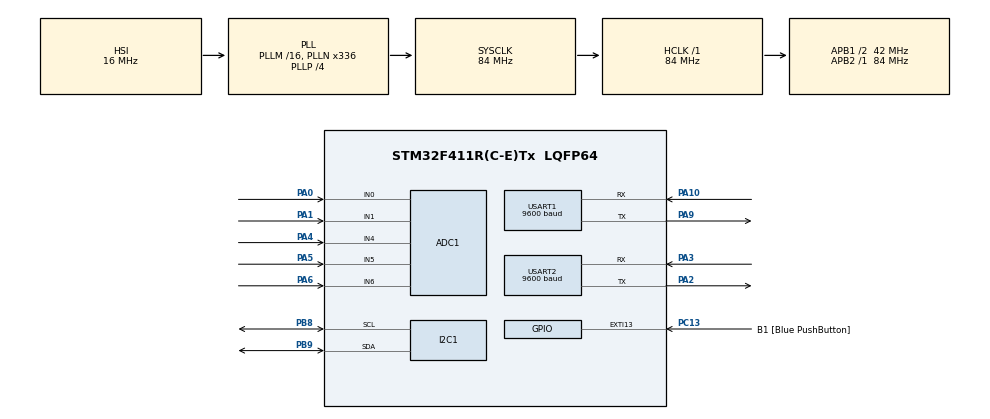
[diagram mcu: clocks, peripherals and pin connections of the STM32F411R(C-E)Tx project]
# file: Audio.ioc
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ADC1.Channel-0\#ChannelRegularConversion=ADC_CHANNEL_1
ADC1.NbrOfConversion=1
ADC1.NbrOfConversionFlag=1
ADC1.Rank-0\#ChannelRegularConversion=1
ADC1.SamplingTime-0\#ChannelRegularConversion=ADC_SAMPLETIME_3CYCLES
ADC1.master=1
Mcu.Family=STM32F4
Mcu.Name=STM32F411R(C-E)Tx
Mcu.Package=LQFP64
NVIC.PriorityGroup=NVIC_PRIORITYGROUP_0
NVIC.USART1_IRQn=true\:0\:0\:false\:false\:true\:true\:true\:true
NVIC.USART2_IRQn=true\:0\:0\:false\:false\:true\:true\:true\:true
PA0-WKUP.Signal=ADCx_IN0
PA1.Signal=ADCx_IN1
PA10.Mode=Asynchronous
PA10.Signal=USART1_RX
PA13.GPIO_Label=TMS
PA13.Mode=Serial_Wire
PA13.Signal=SYS_JTMS-SWDIO
PA14.GPIO_Label=TCK
PA14.Mode=Serial_Wire
PA14.Signal=SYS_JTCK-SWCLK
PA2.Mode=Asynchronous
PA2.Signal=USART2_TX
PA3.Mode=Asynchronous
PA3.Signal=USART2_RX
PA4.Signal=ADCx_IN4
PA5.Signal=ADCx_IN5
PA6.Signal=ADCx_IN6
PA9.Mode=Asynchronous
PA9.Signal=USART1_TX
PB3.GPIO_Label=SWO
PB3.Signal=SYS_JTDO-SWO
PB8.Mode=I2C
PB8.Signal=I2C1_SCL
PB9.Mode=I2C
PB9.Signal=I2C1_SDA
PC13-ANTI_TAMP.GPIO_Label=B1 [Blue PushButton]
PC13-ANTI_TAMP.GPIO_ModeDefaultEXTI=GPIO_MODE_IT_FALLING
PC13-ANTI_TAMP.Signal=GPXTI13
PC14-OSC32_IN.Mode=LSE-External-Oscillator
PC14-OSC32_IN.Signal=RCC_OSC32_IN
PC15-OSC32_OUT.Mode=LSE-External-Oscillator
PC15-OSC32_OUT.Signal=RCC_OSC32_OUT
PH0\ -\ OSC_IN.Mode=HSE-External-Clock-Source
PH0\ -\ OSC_IN.Signal=RCC_OSC_IN
PH1\ -\ OSC_OUT.Mode=HSE-External-Clock-Source
PH1\ -\ OSC_OUT.Signal=RCC_OSC_OUT
ProjectManager.HeapSize=0x200
ProjectManager.StackSize=0x400
ProjectManager.TargetToolchain=STM32CubeIDE
RCC.48MHZClocksFreq_Value=84000000
RCC.AHBFreq_Value=84000000
RCC.APB1CLKDivider=RCC_HCLK_DIV2
RCC.APB1Freq_Value=42000000
RCC.APB1TimFreq_Value=84000000
RCC.APB2Freq_Value=84000000
RCC.APB2TimFreq_Value=84000000
RCC.CortexFreq_Value=84000000
RCC.FLatency-AdvancedSettings=FLASH_LATENCY_2
RCC.HCLKFreq_Value=84000000
RCC.HSE_VALUE=8000000
RCC.HSI_VALUE=16000000
RCC.PLLN=336
RCC.PLLP=RCC_PLLP_DIV4
RCC.SYSCLKFreq_VALUE=84000000
RCC.SYSCLKSource=RCC_SYSCLKSOURCE_PLLCLK
RCC.VCOOutputFreq_Value=336000000
SH.ADCx_IN0.0=ADC1_IN0,IN0
SH.ADCx_IN1.0=ADC1_IN1,IN1
SH.ADCx_IN4.0=ADC1_IN4,IN4
SH.ADCx_IN5.0=ADC1_IN5,IN5
SH.ADCx_IN6.0=ADC1_IN6,IN6
USART1.BaudRate=9600
USART1.VirtualMode=VM_ASYNC
USART2.BaudRate=9600
USART2.VirtualMode=VM_ASYNC
board=NUCLEO-F411RE

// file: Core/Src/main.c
/* USER CODE BEGIN Header */
/**
  ******************************************************************************
  * @file           : main.c
  * @brief          : Main program body
  ******************************************************************************
  * @attention
  *
  * Copyright (c) 2022 STMicroelectronics.
  * All rights reserved.
  *
  * This software is licensed under terms that can be found in the LICENSE file
  * in the root directory of this software component.
  * If no LICENSE file comes with this software, it is provided AS-IS.
  *
  ******************************************************************************
  */
/* USER CODE END Header */
#include "main.h"

/* USER CODE BEGIN Includes */
#include "DFPLAYER_MINI.h"
#include <stdio.h>
#include <stdlib.h>
#include "mpu6050.h"
/* USER CODE END Includes */

ADC_HandleTypeDef hadc1;

I2C_HandleTypeDef hi2c1;

UART_HandleTypeDef huart1;
UART_HandleTypeDef huart2;

/* USER CODE BEGIN PV */
MPU6050_t MPU6050;

//-------------------------------//

double raw_value;
char Resist[20] = "wowo";
double Readvoltage[3];
double ReadR[3];
const int R = 10; // Resistance
const int V = 3.3; // voltage
/* USER CODE END PV */

void SystemClock_Config(void);
static void MX_GPIO_Init(void);
static void MX_USART1_UART_Init(void);
static void MX_USART2_UART_Init(void);
static void MX_ADC1_Init(void);
static void MX_I2C1_Init(void);

/* USER CODE BEGIN 0 */
char buf[1];
char urtrx[10]={0};
uint8_t urtrxStatus;

char val[200];
char gesture[200];
uint8_t result = 0x05;
int vol;
char volu[20];

void Adc_select_0(){
	ADC_ChannelConfTypeDef sConfig = {0};
	  sConfig.Channel = ADC_CHANNEL_0;
	  sConfig.Rank = 1;
	  sConfig.SamplingTime = ADC_SAMPLETIME_28CYCLES;
	  if (HAL_ADC_ConfigChannel(&hadc1, &sConfig) != HAL_OK)
	  {
	    Error_Handler();
	  }
}
void Adc_select_1(){
	ADC_ChannelConfTypeDef sConfig = {0};
	  sConfig.Channel = ADC_CHANNEL_1;
	  sConfig.Rank = 1;
	  sConfig.SamplingTime = ADC_SAMPLETIME_84CYCLES;
	  if (HAL_ADC_ConfigChannel(&hadc1, &sConfig) != HAL_OK)
	  {
	    Error_Handler();
	  }
}
void Adc_select_4(){
	ADC_ChannelConfTypeDef sConfig = {0};
	  sConfig.Channel = ADC_CHANNEL_4;
	  sConfig.Rank = 1;
	  sConfig.SamplingTime = ADC_SAMPLETIME_84CYCLES;
	  if (HAL_ADC_ConfigChannel(&hadc1, &sConfig) != HAL_OK)
	  {
	    Error_Handler();
	  }
}
void Adc_select_6_poten(){
	ADC_ChannelConfTypeDef sConfig = {0};
	  sConfig.Channel = ADC_CHANNEL_6;
	  sConfig.Rank = 1;
	  sConfig.SamplingTime = ADC_SAMPLETIME_84CYCLES;
	  if (HAL_ADC_ConfigChannel(&hadc1, &sConfig) != HAL_OK)
	  {
	    Error_Handler();
	  }
}
float resist_to_percent(float R, float min_old, float max_old, float min_new, float max_new) {
	return (R-min_old)/(max_old-min_old)*(max_new-min_new);
}
/* USER CODE END 0 */

int main(void)
{

  /* MCU Configuration--------------------------------------------------------*/

  /* Reset of all peripherals, Initializes the Flash interface and the Systick. */
  HAL_Init();

  /* Configure the system clock */
  SystemClock_Config();

  /* Initialize all configured peripherals */
  MX_GPIO_Init();
  MX_USART1_UART_Init();
  MX_USART2_UART_Init();
  MX_ADC1_Init();
  MX_I2C1_Init();
  MPU6050_Init(&hi2c1);
  /* USER CODE BEGIN 2 */
  DF_Init(10);
//  DF_PlayFromStart();
  uint8_t a = 0x01;
  Send_cmd(0x03,0x00, 0x05); //play
//  HAL_Delay(500);

	float Ax, Ay, Az, Gx, Gy, Gz;
	float Axmin[4] = {-0.34,0.46,0.61,0.09};  // คน, สวัสดี, อันตราย, เกรงใจ
	float Axmax[4] = {0.42 ,1.1 ,1.17, 0.86};
	float Aymin[4] = {0.75,-0.14,0.06,0.52};
	float Aymax[4] = {1.2 ,0.61 ,0.83,1.13};
	float Azmin[4] = {-0.54,-1.15,-0.41,-0.41};
	float Azmax[4] = {0.18 ,-0.41 ,0.43 ,0.51};

	float V0min[4] = {0.52,0.54,0.42, 0.53};
	float V0max[4] = {0.9,0.9,0.79,0.88};
	float V1min[4] = {0.38,0.35,0.04,0.1};
	float V1max[4] = {0.83,0.81,0.41,0.52};
	float V2min[4] = {0.35,0.38,0.13,0.15};
	float V2max[4] = {0.75,0.78,0.52,0.53};
  int oldvoice = 5;
  int newvoice = 0;
  int cou = 0;
  char couu[15];
  /* USER CODE END 2 */

  /* Infinite loop */
  /* USER CODE BEGIN WHILE */

  HAL_UART_Transmit(&huart2,"first" ,sizeof("first"),HAL_MAX_DELAY);
  while (1)
  {
	  MPU6050_Read_All(&hi2c1, &MPU6050);

	  	Ax = MPU6050.Ax;
	  	Ay = MPU6050.Ay;
	  	Az = MPU6050.Az;
	  	Gx = MPU6050.Gx;
	  	Gy = MPU6050.Gy;
	  	Gz = MPU6050.Gz;

	  	Adc_select_0();
	  	HAL_ADC_Start(&hadc1);
	  	HAL_ADC_PollForConversion(&hadc1, 1000);
	  	raw_value = (double)HAL_ADC_GetValue(&hadc1);
	  	Readvoltage[0] = raw_value*V/4095;
	  	ReadR[0] = ((V*R)/Readvoltage[0])-R;
//	  	ReadR[0] = resist_to_percent(ReadR[0],30,105,0,100);
	  	sprintf(Resist,"read0=%f\t" , Readvoltage[0]);
	  	HAL_UART_Transmit(&huart2,Resist ,sizeof(Resist),HAL_MAX_DELAY);
	  	HAL_ADC_Stop(&hadc1);

	  	Adc_select_1();
	  	HAL_ADC_Start(&hadc1);
	  	HAL_ADC_PollForConversion(&hadc1, 1000);
	  	raw_value = (double)HAL_ADC_GetValue(&hadc1);
	  	Readvoltage[1] = raw_value*V/4095;
	  	ReadR[1] = ((V*R)/Readvoltage[1])-R;
//	  	ReadR[1] = resist_to_percent(ReadR[1],27,48,0,100);
	  	sprintf(Resist,"read1=%f\t" , Readvoltage[1]);
	  	HAL_UART_Transmit(&huart2,Resist ,sizeof(Resist),HAL_MAX_DELAY);
	  	HAL_ADC_Stop(&hadc1);

	  	Adc_select_4();
	  	HAL_ADC_Start(&hadc1);
	  	HAL_ADC_PollForConversion(&hadc1, 1000);
	  	raw_value = (double)HAL_ADC_GetValue(&hadc1);
	  	Readvoltage[2] = raw_value*V/4095;
	  	ReadR[2] = ((V*R)/Readvoltage[2])-R;
//	  	ReadR[2] = resist_to_percent(ReadR[2],30,60,0,100);
	  	sprintf(Resist,"read2=%f\t" ,Readvoltage[2]);
	  	HAL_UART_Transmit(&huart2,Resist ,sizeof(Resist),HAL_MAX_DELAY);
	  	HAL_ADC_Stop(&hadc1);

	  	Adc_select_6_poten();
	  	HAL_ADC_Start(&hadc1);
	  	HAL_ADC_PollForConversion(&hadc1, 1000);
	  	raw_value = (double)HAL_ADC_GetValue(&hadc1);
	  	vol = raw_value*30/4095;
	  	//sprintf(volu,"%d\r\n" , vol);
//	  	HAL_UART_Transmit(&huart2,volu ,sizeof(volu),HAL_MAX_DELAY);
	  	Send_cmd(0x06, 0x00, vol);
	  	HAL_ADC_Stop(&hadc1);

	     if (Ax >= Axmin[0] && Ax <= Axmax[0] && Ay>=Aymin[0] && Ay <= Aymax[0] && Az >= Azmin[0] && Az <= Azmax[0]  && Readvoltage[0] >= V0min[0] && Readvoltage[0] <= V0max[0] && Readvoltage[1] >= V1min[0] && Readvoltage[1] <= V1max[0] && Readvoltage[2] >= V2min[0] && Readvoltage[2] <= V2max[0]) {
	  	   sprintf(gesture,"คน \r\n");
	  	   newvoice =1;
	  	   result = 0x01;
	     }
	     else if (Ax >= Axmin[1] && Ax <= Axmax[1] && Ay>=Aymin[1] && Ay <= Aymax[1] && Az >= Azmin[1] && Az <= Azmax[1]  && Readvoltage[0] >= V0min[1] && Readvoltage[0] <= V0max[1] && Readvoltage[1] >= V1min[1] && Readvoltage[1] <= V1max[1] && Readvoltage[2] >= V2min[1] && Readvoltage[2] <= V2max[1] ){
	  	   sprintf(gesture,"สวัสดี \r\n");
	  	   newvoice =2;
	  	   result = 0x04;
	     }
	     else if (Ax >= Axmin[2] && Ax <= Axmax[2] && Ay>=Aymin[2] && Ay <= Aymax[2] && Az >= Azmin[2] && Az <= Azmax[2]  && Readvoltage[0] >= V0min[2] && Readvoltage[0] <= V0max[2] && Readvoltage[1] >= V1min[2] && Readvoltage[1] <= V1max[2] && Readvoltage[2] >= V2min[2] && Readvoltage[2] <= V2max[2] ){
	  	   sprintf(gesture,"อันตราย \r\n");
	  	   newvoice =3;
	  	   result = 0x02;
	     }

	     else if (Ax >= Axmin[3] && Ax <= Axmax[3] && Ay>=Aymin[3] && Ay <= Aymax[3] && Az >= Azmin[3] && Az <= Azmax[3]  && Readvoltage[0] >= V0min[3] && Readvoltage[0] <= V0max[3] && Readvoltage[1] >= V1min[3] && Readvoltage[1] <= V1max[3] && Readvoltage[2] >= V2min[3] && Readvoltage[2] <= V2max[3] ){
	  	   sprintf(gesture,"เกรงใจ \r\n");
	  	   newvoice =4;
	  	   result = 0x03;
	     }
	     else {
	  	   sprintf(gesture,"อ่อน \r\n");
	  	   newvoice =5;
	  	   result = 0x05;
	     }
	 sprintf(val,"Ax=%.2f\t  Ay=%.2f\t Az=%.2f\t %d\t",Ax,Ay,Az,result);
	 HAL_UART_Transmit(&huart2,val,strlen((char*)val),HAL_MAX_DELAY);
	  //----------------------------------------------------------//
	  Send_cmd(0x42, 0, 0);
	  HAL_UART_Receive(&huart1,urtrx,sizeof(urtrx),HAL_MAX_DELAY);
	  sprintf(buf,"%d\r\n",urtrx[7]);
	  if(buf[0] == '0' && newvoice != oldvoice ){ //not play yet && newvoice != oldvoice
		  sprintf(buf,"%d\r\n",result);
//		  HAL_UART_Transmit(&huart2,buf,sizeof(buf),HAL_MAX_DELAY);
		  Send_cmd(0x03,0x00, result);
		  cou++;
		  sprintf(couu,"0 ,%d\r\n" ,cou);
		  HAL_UART_Transmit(&huart2,couu ,sizeof(couu),HAL_MAX_DELAY);
		  oldvoice = newvoice;
	  }
	  else if (buf[0] == '1'){ //playing
		  HAL_UART_Transmit(&huart2,"1\r\n" ,sizeof("1\r\n"),HAL_MAX_DELAY);
	  }
	  else {
		  HAL_UART_Transmit(&huart2,"0\r\n" ,sizeof("0\r\n"),HAL_MAX_DELAY);
	}
	  HAL_Delay(1500);

    /* USER CODE END WHILE */

  }
}

void SystemClock_Config(void)
{
  RCC_OscInitTypeDef RCC_OscInitStruct = {0};
  RCC_ClkInitTypeDef RCC_ClkInitStruct = {0};

  /** Configure the main internal regulator output voltage
  */
  __HAL_RCC_PWR_CLK_ENABLE();
  __HAL_PWR_VOLTAGESCALING_CONFIG(PWR_REGULATOR_VOLTAGE_SCALE1);

  /** Initializes the RCC Oscillators according to the specified parameters
  * in the RCC_OscInitTypeDef structure.
  */
  RCC_OscInitStruct.OscillatorType = RCC_OSCILLATORTYPE_HSI;
  RCC_OscInitStruct.HSIState = RCC_HSI_ON;
  RCC_OscInitStruct.HSICalibrationValue = RCC_HSICALIBRATION_DEFAULT;
  RCC_OscInitStruct.PLL.PLLState = RCC_PLL_ON;
  RCC_OscInitStruct.PLL.PLLSource = RCC_PLLSOURCE_HSI;
  RCC_OscInitStruct.PLL.PLLM = 16;
  RCC_OscInitStruct.PLL.PLLN = 336;
  RCC_OscInitStruct.PLL.PLLP = RCC_PLLP_DIV4;
  RCC_OscInitStruct.PLL.PLLQ = 4;
  if (HAL_RCC_OscConfig(&RCC_OscInitStruct) != HAL_OK)
  {
    Error_Handler();
  }

  /** Initializes the CPU, AHB and APB buses clocks
  */
  RCC_ClkInitStruct.ClockType = RCC_CLOCKTYPE_HCLK|RCC_CLOCKTYPE_SYSCLK
                              |RCC_CLOCKTYPE_PCLK1|RCC_CLOCKTYPE_PCLK2;
  RCC_ClkInitStruct.SYSCLKSource = RCC_SYSCLKSOURCE_PLLCLK;
  RCC_ClkInitStruct.AHBCLKDivider = RCC_SYSCLK_DIV1;
  RCC_ClkInitStruct.APB1CLKDivider = RCC_HCLK_DIV2;
  RCC_ClkInitStruct.APB2CLKDivider = RCC_HCLK_DIV1;

  if (HAL_RCC_ClockConfig(&RCC_ClkInitStruct, FLASH_LATENCY_2) != HAL_OK)
  {
    Error_Handler();
  }
}

static void MX_ADC1_Init(void)
{

  ADC_ChannelConfTypeDef sConfig = {0};

  /** Configure the global features of the ADC (Clock, Resolution, Data Alignment and number of conversion)
  */
  hadc1.Instance = ADC1;
  hadc1.Init.ClockPrescaler = ADC_CLOCK_SYNC_PCLK_DIV4;
  hadc1.Init.Resolution = ADC_RESOLUTION_12B;
  hadc1.Init.ScanConvMode = DISABLE;
  hadc1.Init.ContinuousConvMode = DISABLE;
  hadc1.Init.DiscontinuousConvMode = DISABLE;
  hadc1.Init.ExternalTrigConvEdge = ADC_EXTERNALTRIGCONVEDGE_NONE;
  hadc1.Init.ExternalTrigConv = ADC_SOFTWARE_START;
  hadc1.Init.DataAlign = ADC_DATAALIGN_RIGHT;
  hadc1.Init.NbrOfConversion = 1;
  hadc1.Init.DMAContinuousRequests = DISABLE;
  hadc1.Init.EOCSelection = ADC_EOC_SINGLE_CONV;
  if (HAL_ADC_Init(&hadc1) != HAL_OK)
  {
    Error_Handler();
  }

  /** Configure for the selected ADC regular channel its corresponding rank in the sequencer and its sample time.
  */
  sConfig.Channel = ADC_CHANNEL_1;
  sConfig.Rank = 1;
  sConfig.SamplingTime = ADC_SAMPLETIME_3CYCLES;
  if (HAL_ADC_ConfigChannel(&hadc1, &sConfig) != HAL_OK)
  {
    Error_Handler();
  }

}

static void MX_I2C1_Init(void)
{

  hi2c1.Instance = I2C1;
  hi2c1.Init.ClockSpeed = 100000;
  hi2c1.Init.DutyCycle = I2C_DUTYCYCLE_2;
  hi2c1.Init.OwnAddress1 = 0;
  hi2c1.Init.AddressingMode = I2C_ADDRESSINGMODE_7BIT;
  hi2c1.Init.DualAddressMode = I2C_DUALADDRESS_DISABLE;
  hi2c1.Init.OwnAddress2 = 0;
  hi2c1.Init.GeneralCallMode = I2C_GENERALCALL_DISABLE;
  hi2c1.Init.NoStretchMode = I2C_NOSTRETCH_DISABLE;
  if (HAL_I2C_Init(&hi2c1) != HAL_OK)
  {
    Error_Handler();
  }

}

static void MX_USART1_UART_Init(void)
{

  huart1.Instance = USART1;
  huart1.Init.BaudRate = 9600;
  huart1.Init.WordLength = UART_WORDLENGTH_8B;
  huart1.Init.StopBits = UART_STOPBITS_1;
  huart1.Init.Parity = UART_PARITY_NONE;
  huart1.Init.Mode = UART_MODE_TX_RX;
  huart1.Init.HwFlowCtl = UART_HWCONTROL_NONE;
  huart1.Init.OverSampling = UART_OVERSAMPLING_16;
  if (HAL_UART_Init(&huart1) != HAL_OK)
  {
    Error_Handler();
  }

}

static void MX_USART2_UART_Init(void)
{

  huart2.Instance = USART2;
  huart2.Init.BaudRate = 9600;
  huart2.Init.WordLength = UART_WORDLENGTH_8B;
  huart2.Init.StopBits = UART_STOPBITS_1;
  huart2.Init.Parity = UART_PARITY_NONE;
  huart2.Init.Mode = UART_MODE_TX_RX;
  huart2.Init.HwFlowCtl = UART_HWCONTROL_NONE;
  huart2.Init.OverSampling = UART_OVERSAMPLING_16;
  if (HAL_UART_Init(&huart2) != HAL_OK)
  {
    Error_Handler();
  }

}

static void MX_GPIO_Init(void)
{
  GPIO_InitTypeDef GPIO_InitStruct = {0};

  /* GPIO Ports Clock Enable */
  __HAL_RCC_GPIOC_CLK_ENABLE();
  __HAL_RCC_GPIOH_CLK_ENABLE();
  __HAL_RCC_GPIOA_CLK_ENABLE();
  __HAL_RCC_GPIOB_CLK_ENABLE();

  /*Configure GPIO pin : B1_Pin */
  GPIO_InitStruct.Pin = B1_Pin;
  GPIO_InitStruct.Mode = GPIO_MODE_IT_FALLING;
  GPIO_InitStruct.Pull = GPIO_NOPULL;
  HAL_GPIO_Init(B1_GPIO_Port, &GPIO_InitStruct);

}

void Error_Handler(void)
{
  __disable_irq();
  while (1)
  {
  }
}
